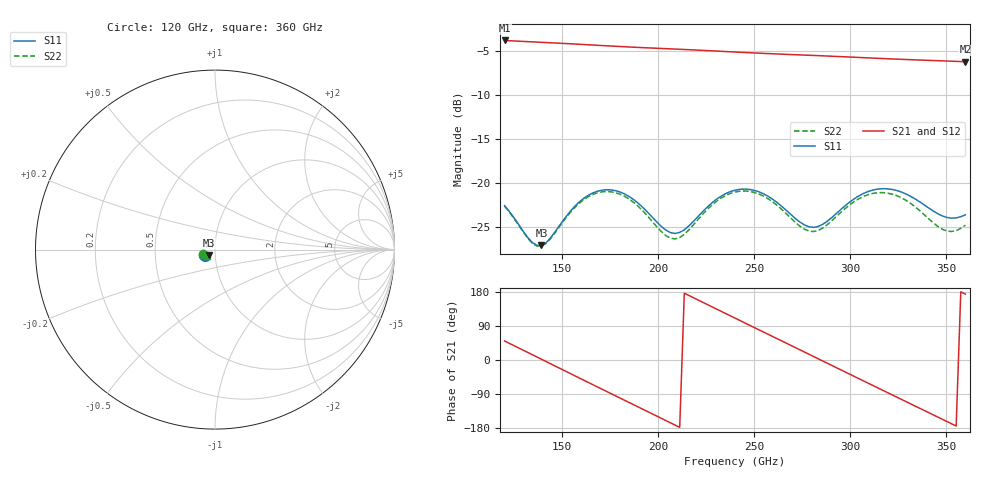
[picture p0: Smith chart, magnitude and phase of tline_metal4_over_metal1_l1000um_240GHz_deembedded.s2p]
! Created with skrf 2.2.0 (http://scikit-rf.org).
# GHz S DB R 50.0
! Port[1] = P1
! Port[2] = P2
!freq dBS11 angS11 dBS21 angS21 dBS12 angS12 dBS22 angS22
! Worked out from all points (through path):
!   101 points, 120 GHz to 360 GHz, reference 50 ohm
!   highest |S21| = -3.85 dB at 120 GHz (marker M1); lowest = -6.3 dB at 360 GHz (marker M2)
!   group delay of S21, straight-line fit = 6.9 ps
!   lowest |S11| = -27.0 dB at 139.2 GHz (marker M3), VSWR 1.09, Z = 46.7 - j2.81 ohm
!   |S11| at or under -10 dB: start of sweep to end of sweep
!   |S22| runs from -27.1 to -20.9 dB; largest |S21 - S12| = 6.3e-14
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120  -22.53 -157.7  -3.85 50.1  -3.85 50.1  -22.61 -158.4
129.6  -25.41 -158.0  -3.96 26.1  -3.96 26.1  -25.49 -158.8
139.2  -27.04 -137.6  -4.06 2.0  -4.06 2.0  -27.12 -138.7
148.8  -24.73 -121.9  -4.17 -22.1  -4.17 -22.1  -24.84 -123.2
160.8  -21.78 -127.3  -4.31 -52.2  -4.31 -52.2  -21.93 -128.9
170.4  -20.80 -138.8  -4.42 -76.2  -4.42 -76.2  -20.99 -140.6
180  -20.99 -150.8  -4.54 -100.1  -4.54 -100.1  -21.24 -152.9
189.6  -22.27 -159.7  -4.64 -124.0  -4.64 -124.0  -22.62 -161.9
201.6  -24.88 -157.6  -4.76 -153.8  -4.76 -153.8  -25.47 -159.2
208.8  -25.68 -146.0  -4.83 -171.8  -4.83 -171.8  -26.31 -146.0
218.4  -24.31 -132.2  -4.92 164.3  -4.92 164.3  -24.70 -131.3
240  -20.79 -142.4  -5.16 110.5  -5.16 110.5  -21.00 -142.7
249.6  -20.79 -152.6  -5.26 86.8  -5.26 86.8  -21.02 -153.4
259.2  -21.75 -160.7  -5.36 63.0  -5.36 63.0  -22.05 -161.9
271.2  -23.94 -161.0  -5.46 33.3  -5.46 33.3  -24.38 -162.2
280.8  -25.00 -148.8  -5.55 9.5  -5.55 9.5  -25.47 -149.2
297.6  -22.51 -135.2  -5.71 -32.1  -5.71 -32.1  -22.82 -135.8
309.6  -20.92 -142.0  -5.83 -61.8  -5.83 -61.8  -21.28 -143.7
321.6  -20.70 -152.7  -5.94 -91.4  -5.94 -91.4  -21.22 -155.3
331.2  -21.45 -159.4  -6.03 -115.0  -6.03 -115.0  -22.25 -162.5
343.2  -23.14 -159.9  -6.12 -144.6  -6.12 -144.6  -24.47 -161.6
360  -23.58 -144.2  -6.26 173.9  -6.26 173.9  -24.75 -138.5
